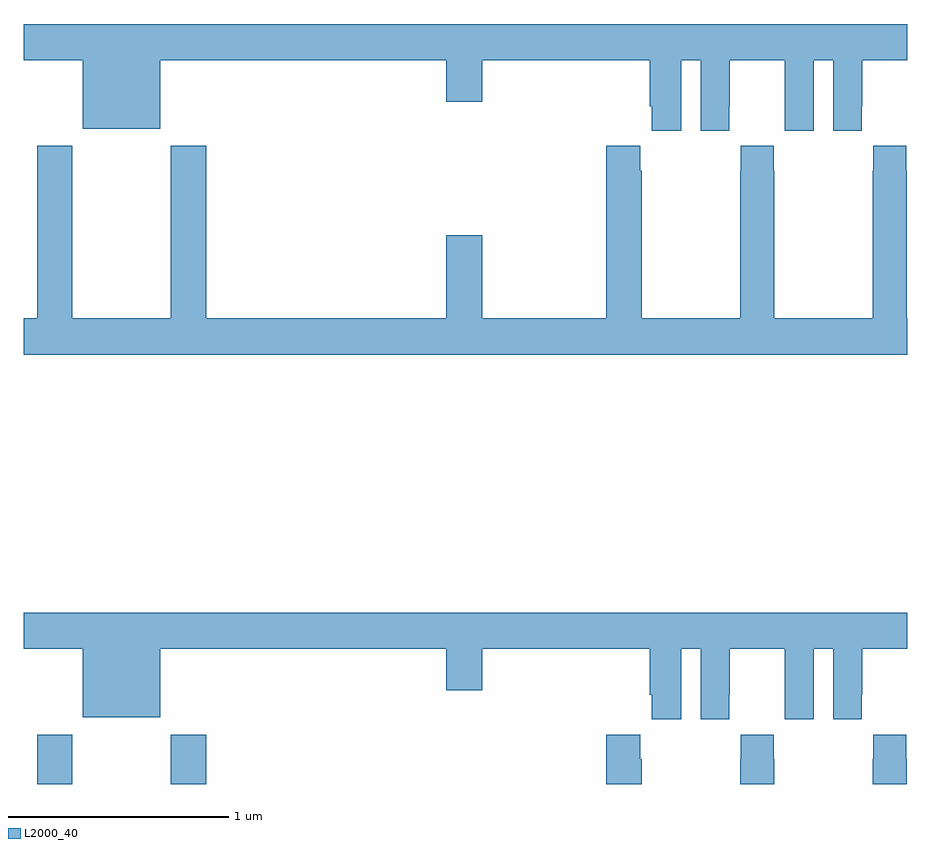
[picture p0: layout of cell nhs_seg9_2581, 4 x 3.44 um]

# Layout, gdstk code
import gdstk
lib = gdstk.Library(unit=1e-6, precision=1e-09)
def R(c, l, rs):  # rectangles x0, y0, x1, y1
    for r in rs: c.add(gdstk.rectangle(r[:2], r[2:], *l))
def P(c, l, *ps):  # polygons
    for p in ps: c.add(gdstk.Polygon(p, *l))
L2000_40 = (2000, 40)

nhs_seg9_2581 = lib.new_cell('nhs_seg9_2581')
R(nhs_seg9_2581, L2000_40, [(259.061,1170.5,259.221,1170.724), (259.666,1170.5,259.826,1170.724)])
P(nhs_seg9_2581, L2000_40, [(261.976,1173.776),(262.064,1173.776),(262.064,1173.456),(262.194,1173.456),(262.194,1173.568),(262.195,1173.568),(262.195,1173.776),(262.445,1173.776),(262.445,1173.568),(262.446,1173.568),(262.446,1173.456),(262.576,1173.456),(262.576,1173.776),(262.664,1173.776),(262.664,1173.456),(262.794,1173.456),(262.794,1173.568),(262.795,1173.568),(262.795,1173.776),(263,1173.776),(263,1173.94),(259,1173.94),(259,1173.776),(259.268,1173.776),(259.268,1173.467),(259.618,1173.467),(259.618,1173.776),(260.912,1173.776),(260.912,1173.588),(261.076,1173.588),(261.076,1173.776),(261.833,1173.776),(261.833,1173.568),(261.842,1173.568),(261.842,1173.456),(261.976,1173.456)],
  [(263,1172.608),(262.998,1172.608),(262.998,1173.275),(262.995,1173.275),(262.995,1173.388),(262.845,1173.388),(262.845,1173.275),(262.843,1173.275),(262.843,1172.608),(262.398,1172.608),(262.398,1173.275),(262.395,1173.275),(262.395,1173.388),(262.245,1173.388),(262.245,1173.275),(262.243,1173.275),(262.243,1172.608),(261.798,1172.608),(261.798,1173.275),(261.791,1173.275),(261.791,1173.388),(261.638,1173.388),(261.638,1172.608),(261.076,1172.608),(261.076,1172.983),(260.912,1172.983),(260.912,1172.608),(259.826,1172.608),(259.826,1173.388),(259.666,1173.388),(259.666,1172.608),(259.221,1172.608),(259.221,1173.388),(259.061,1173.388),(259.061,1172.608),(259,1172.608),(259,1172.444),(263,1172.444)],
  [(259,1171.112),(259.268,1171.112),(259.268,1170.803),(259.618,1170.803),(259.618,1171.112),(260.912,1171.112),(260.912,1170.924),(261.076,1170.924),(261.076,1171.112),(261.833,1171.112),(261.833,1170.904),(261.842,1170.904),(261.842,1170.792),(261.976,1170.792),(261.976,1171.112),(262.064,1171.112),(262.064,1170.792),(262.194,1170.792),(262.194,1170.904),(262.195,1170.904),(262.195,1171.112),(262.445,1171.112),(262.445,1170.904),(262.446,1170.904),(262.446,1170.792),(262.576,1170.792),(262.576,1171.112),(262.664,1171.112),(262.664,1170.792),(262.794,1170.792),(262.794,1170.904),(262.795,1170.904),(262.795,1171.112),(263,1171.112),(263,1171.276),(259,1171.276)],
  [(261.798,1170.611),(261.791,1170.611),(261.791,1170.724),(261.638,1170.724),(261.638,1170.5),(261.798,1170.5)],
  [(262.398,1170.611),(262.395,1170.611),(262.395,1170.724),(262.245,1170.724),(262.245,1170.611),(262.243,1170.611),(262.243,1170.5),(262.398,1170.5)],
  [(262.998,1170.611),(262.995,1170.611),(262.995,1170.724),(262.845,1170.724),(262.845,1170.611),(262.843,1170.611),(262.843,1170.5),(262.998,1170.5)])

lib.write_gds('nhs_seg9_2581.gds')
